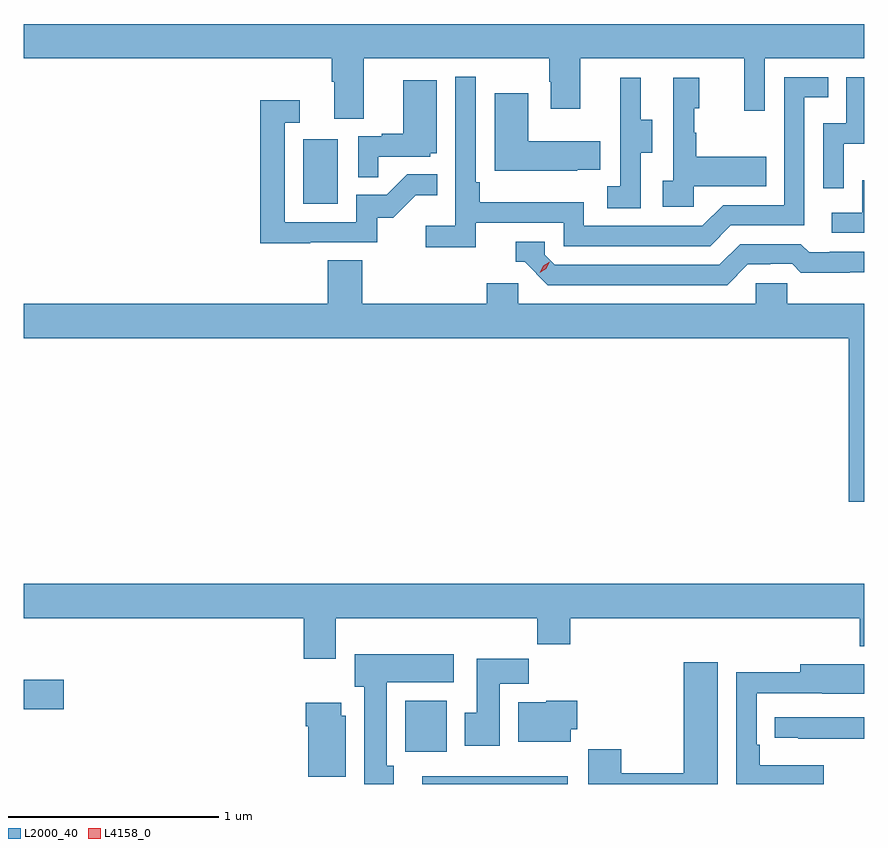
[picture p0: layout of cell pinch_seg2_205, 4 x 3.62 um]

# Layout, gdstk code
import gdstk
lib = gdstk.Library(unit=1e-6, precision=1e-09)
def R(c, l, rs):  # rectangles x0, y0, x1, y1
    for r in rs: c.add(gdstk.rectangle(r[:2], r[2:], *l))
def P(c, l, *ps):  # polygons
    for p in ps: c.add(gdstk.Polygon(p, *l))
L2000_40 = (2000, 40)
L4158_0 = (4158, 0)

pinch_seg2_205 = lib.new_cell('pinch_seg2_205')
R(pinch_seg2_205, L2000_40, [(964.865,650.842,965.557,650.878), (964.784,650.996,964.981,651.238), (962.968,651.197,963.157,651.339), (964.298,653.604,964.462,653.911)])
P(pinch_seg2_205, L2000_40, [(964.585,654.296),(965.47,654.296),(965.47,654.185),(965.477,654.185),(965.477,654.057),(965.617,654.057),(965.617,654.296),(966.398,654.296),(966.398,654.048),(966.495,654.048),(966.495,654.296),(966.968,654.296),(966.968,654.46),(962.968,654.46),(962.968,654.296),(964.433,654.296),(964.433,654.184),(964.445,654.184),(964.445,654.01),(964.585,654.01)],
  [(965.12,653.514),(965.538,653.514),(965.538,653.403),(966.235,653.403),(966.334,653.502),(966.684,653.502),(966.684,654.111),(966.797,654.111),(966.797,654.207),(966.588,654.207),(966.588,653.598),(966.297,653.598),(966.198,653.499),(965.634,653.499),(965.634,653.611),(965.138,653.611),(965.138,653.707),(965.118,653.707),(965.118,654.208),(965.022,654.208),(965.022,653.5),(964.881,653.5),(964.881,653.398),(965.12,653.398)],
  [(966.87,653.891),(966.968,653.891),(966.968,654.207),(966.882,654.207),(966.882,653.988),(966.774,653.988),(966.774,653.679),(966.87,653.679)],
  [(966.156,653.687),(966.503,653.687),(966.503,653.827),(966.169,653.827),(966.169,653.942),(966.159,653.942),(966.159,654.06),(966.184,654.06),(966.184,654.205),(966.06,654.205),(966.06,653.714),(966.009,653.714),(966.009,653.589),(966.156,653.589)],
  [(965.904,653.848),(965.959,653.848),(965.959,654.003),(965.905,654.003),(965.905,654.205),(965.807,654.205),(965.807,653.991),(965.808,653.991),(965.808,653.687),(965.745,653.687),(965.745,653.584),(965.904,653.584)],
  [(964.655,653.829),(964.902,653.829),(964.902,653.844),(964.933,653.844),(964.933,654.193),(964.775,654.193),(964.775,653.938),(964.671,653.938),(964.671,653.925),(964.56,653.925),(964.56,653.731),(964.655,653.731)],
  [(965.603,653.765),(965.711,653.765),(965.711,653.902),(965.368,653.902),(965.368,654.13),(965.21,654.13),(965.21,653.762),(965.603,653.762)],
  [(964.331,653.421),(964.65,653.421),(964.65,653.538),(964.726,653.538),(964.833,653.645),(964.937,653.645),(964.937,653.744),(964.793,653.744),(964.695,653.646),(964.551,653.646),(964.551,653.517),(964.209,653.517),(964.209,653.991),(964.282,653.991),(964.282,654.097),(964.093,654.097),(964.093,653.416),(964.331,653.416)],
  [(966.968,653.716),(966.96,653.716),(966.96,653.562),(966.813,653.562),(966.813,653.466),(966.968,653.466)],
  [(966.415,653.316),(966.522,653.316),(966.522,653.319),(966.625,653.319),(966.667,653.277),(966.9,653.277),(966.9,653.279),(966.968,653.279),(966.968,653.376),(966.805,653.376),(966.805,653.373),(966.706,653.373),(966.667,653.412),(966.378,653.412),(966.279,653.313),(965.496,653.313),(965.448,653.361),(965.448,653.424),(965.309,653.424),(965.309,653.328),(965.352,653.328),(965.463,653.217),(966.316,653.217)],
  [(966.968,653.128),(966.603,653.128),(966.603,653.226),(966.453,653.226),(966.453,653.128),(965.322,653.128),(965.322,653.226),(965.171,653.226),(965.171,653.128),(964.58,653.128),(964.58,653.336),(964.415,653.336),(964.415,653.128),(962.968,653.128),(962.968,652.964),(966.896,652.964),(966.896,652.185),(966.968,652.185)],
  [(964.453,651.632),(965.413,651.632),(965.413,651.508),(965.57,651.508),(965.57,651.632),(966.947,651.632),(966.947,651.497),(966.968,651.497),(966.968,651.796),(962.968,651.796),(962.968,651.632),(964.301,651.632),(964.301,651.438),(964.453,651.438)],
  [(964.729,650.93),(964.696,650.93),(964.696,651.326),(965.014,651.326),(965.014,651.46),(964.544,651.46),(964.544,651.306),(964.589,651.306),(964.589,650.842),(964.729,650.842)],
  [(965.233,651.32),(965.372,651.32),(965.372,651.439),(965.123,651.439),(965.123,651.18),(965.066,651.18),(965.066,651.024),(965.233,651.024)],
  [(966.271,651.421),(966.11,651.421),(966.11,650.894),(965.812,650.894),(965.812,651.007),(965.654,651.007),(965.654,650.842),(966.271,650.842)],
  [(966.775,650.932),(966.47,650.932),(966.47,651.028),(966.456,651.028),(966.456,651.273),(966.769,651.273),(966.769,651.272),(966.968,651.272),(966.968,651.412),(966.665,651.412),(966.665,651.374),(966.36,651.374),(966.36,650.842),(966.775,650.842)],
  [(965.572,651.102),(965.603,651.102),(965.603,651.238),(965.454,651.238),(965.454,651.232),(965.321,651.232),(965.321,651.044),(965.572,651.044)],
  [(964.501,651.168),(964.48,651.168),(964.48,651.229),(964.31,651.229),(964.31,651.116),(964.322,651.116),(964.322,650.876),(964.501,650.876)],
  [(966.968,651.159),(966.543,651.159),(966.543,651.063),(966.655,651.063),(966.655,651.058),(966.968,651.058)])
P(pinch_seg2_205, L4158_0, [(965.423,653.276),(965.423,653.276),(965.44,653.309),(965.471,653.327),(965.472,653.327),(965.472,653.327),(965.455,653.295),(965.424,653.276)])

lib.write_gds('pinch_seg2_205.gds')
